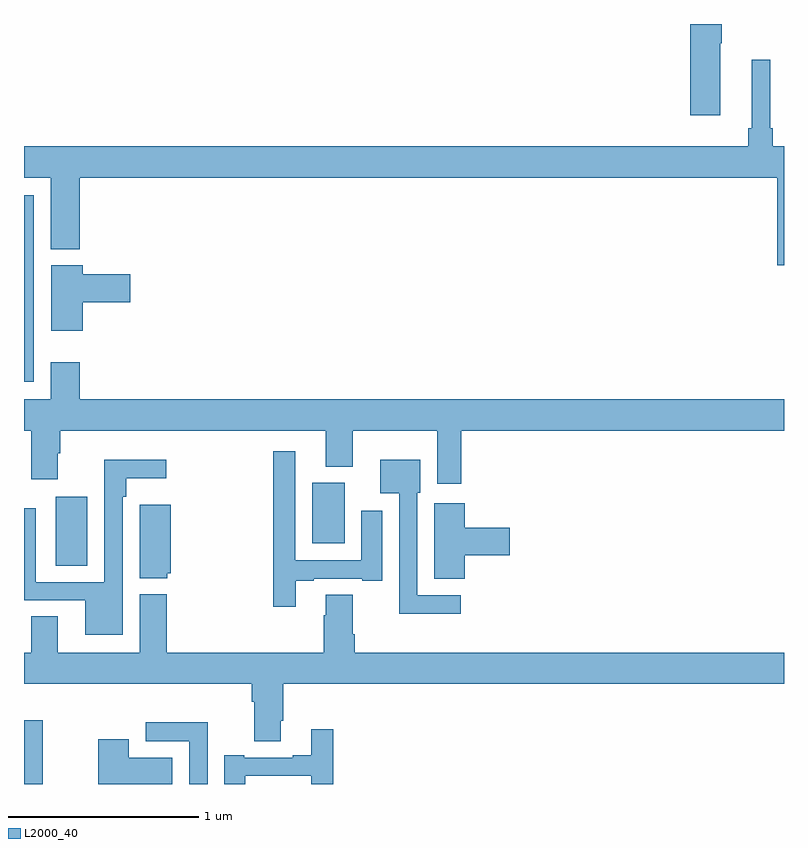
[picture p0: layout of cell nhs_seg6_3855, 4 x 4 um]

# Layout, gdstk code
import gdstk
lib = gdstk.Library(unit=1e-6, precision=1e-09)
def R(c, l, rs):  # rectangles x0, y0, x1, y1
    for r in rs: c.add(gdstk.rectangle(r[:2], r[2:], *l))
def P(c, l, *ps):  # polygons
    for p in ps: c.add(gdstk.Polygon(p, *l))
L2000_40 = (2000, 40)

nhs_seg6_3855 = lib.new_cell('nhs_seg6_3855')
R(nhs_seg6_3855, L2000_40, [(339,921.5,339.098,921.835), (339.167,922.648,339.334,923.011), (340.517,922.766,340.687,923.086), (339,923.616,339.051,924.6)])
P(nhs_seg6_3855, L2000_40, [(342.664,925.399),(342.672,925.399),(342.672,925.5),(342.506,925.5),(342.506,925.02),(342.664,925.02)],
  [(343,924.856),(342.941,924.856),(342.941,924.952),(342.927,924.952),(342.927,925.312),(342.83,925.312),(342.83,924.952),(342.811,924.952),(342.811,924.856),(339,924.856),(339,924.692),(339.14,924.692),(339.14,924.314),(339.293,924.314),(339.293,924.692),(342.965,924.692),(342.965,924.231),(343,924.231)],
  [(339.31,924.035),(339.559,924.035),(339.559,924.182),(339.31,924.182),(339.31,924.229),(339.143,924.229),(339.143,923.886),(339.31,923.886)],
  [(341.3,923.36),(343,923.36),(343,923.524),(339.293,923.524),(339.293,923.719),(339.14,923.719),(339.14,923.524),(339,923.524),(339,923.36),(339.038,923.36),(339.038,923.103),(339.178,923.103),(339.178,923.24),(339.191,923.24),(339.191,923.36),(340.589,923.36),(340.589,923.171),(340.729,923.171),(340.729,923.36),(341.174,923.36),(341.174,923.079),(341.3,923.079)],
  [(340.429,922.569),(340.525,922.569),(340.525,922.581),(340.781,922.581),(340.781,922.569),(340.885,922.569),(340.885,922.939),(340.775,922.939),(340.775,922.677),(340.428,922.677),(340.428,923.251),(340.312,923.251),(340.312,922.434),(340.429,922.434)],
  [(339.519,923.012),(339.539,923.012),(339.539,923.108),(339.748,923.108),(339.748,923.206),(339.423,923.206),(339.423,922.563),(339.063,922.563),(339.063,922.951),(339,922.951),(339,922.467),(339.323,922.467),(339.323,922.286),(339.519,922.286)],
  [(341.299,922.494),(341.07,922.494),(341.07,923.034),(341.086,923.034),(341.086,923.206),(340.874,923.206),(340.874,923.03),(340.974,923.03),(340.974,922.397),(341.299,922.397)],
  [(341.321,922.703),(341.557,922.703),(341.557,922.85),(341.321,922.85),(341.321,922.978),(341.159,922.978),(341.159,922.579),(341.321,922.579)],
  [(339.753,922.608),(339.772,922.608),(339.772,922.969),(339.608,922.969),(339.608,922.583),(339.753,922.583)],
  [(340.351,921.832),(340.364,921.832),(340.364,922.028),(343,922.028),(343,922.192),(340.742,922.192),(340.742,922.288),(340.729,922.288),(340.729,922.496),(340.589,922.496),(340.589,922.388),(340.577,922.388),(340.577,922.192),(339.752,922.192),(339.752,922.498),(339.608,922.498),(339.608,922.192),(339.178,922.192),(339.178,922.382),(339.038,922.382),(339.038,922.192),(339,922.192),(339,922.028),(340.199,922.028),(340.199,921.932),(340.211,921.932),(340.211,921.724),(340.351,921.724)],
  [(339.966,921.824),(339.642,921.824),(339.642,921.726),(339.87,921.726),(339.87,921.5),(339.966,921.5)],
  [(340.165,921.543),(340.512,921.543),(340.512,921.5),(340.628,921.5),(340.628,921.787),(340.511,921.787),(340.511,921.652),(340.415,921.652),(340.415,921.639),(340.159,921.639),(340.159,921.652),(340.055,921.652),(340.055,921.5),(340.165,921.5)],
  [(339.781,921.637),(339.55,921.637),(339.55,921.736),(339.392,921.736),(339.392,921.5),(339.781,921.5)])

lib.write_gds('nhs_seg6_3855.gds')
